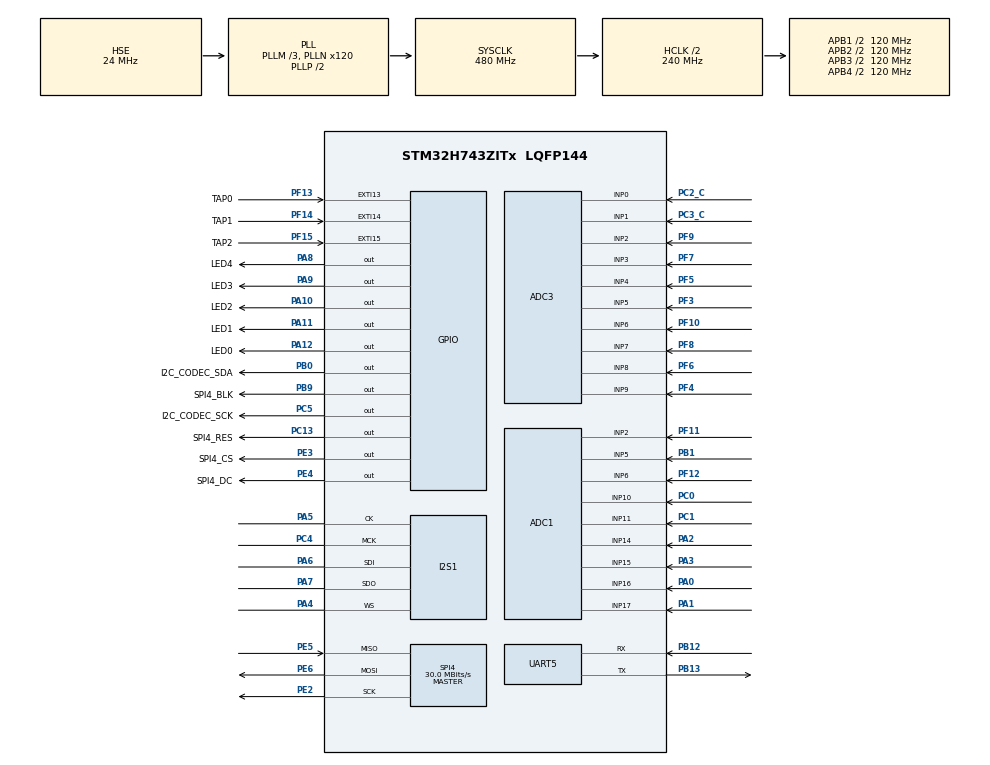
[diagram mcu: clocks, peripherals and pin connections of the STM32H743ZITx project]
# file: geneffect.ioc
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ADC1.Channel-10\#ChannelRegularConversion=ADC_CHANNEL_17
ADC1.Channel-2\#ChannelRegularConversion=ADC_CHANNEL_2
ADC1.Channel-3\#ChannelRegularConversion=ADC_CHANNEL_5
ADC1.Channel-4\#ChannelRegularConversion=ADC_CHANNEL_6
ADC1.Channel-5\#ChannelRegularConversion=ADC_CHANNEL_10
ADC1.Channel-6\#ChannelRegularConversion=ADC_CHANNEL_11
ADC1.Channel-7\#ChannelRegularConversion=ADC_CHANNEL_14
ADC1.Channel-8\#ChannelRegularConversion=ADC_CHANNEL_15
ADC1.Channel-9\#ChannelRegularConversion=ADC_CHANNEL_16
ADC1.ClockPrescaler=ADC_CLOCK_ASYNC_DIV6
ADC1.ClockPrescalerADC3=ADC_CLOCK_ASYNC_DIV6
ADC1.ContinuousConvMode=ENABLE
ADC1.ConversionDataManagement=ADC_CONVERSIONDATA_DMA_CIRCULAR
ADC1.NbrOfConversion=9
ADC1.NbrOfConversionFlag=1
ADC1.OffsetNumber-10\#ChannelRegularConversion=ADC_OFFSET_NONE
ADC1.OffsetNumber-2\#ChannelRegularConversion=ADC_OFFSET_NONE
ADC1.OffsetNumber-3\#ChannelRegularConversion=ADC_OFFSET_NONE
ADC1.OffsetNumber-4\#ChannelRegularConversion=ADC_OFFSET_NONE
ADC1.OffsetNumber-5\#ChannelRegularConversion=ADC_OFFSET_NONE
ADC1.OffsetNumber-6\#ChannelRegularConversion=ADC_OFFSET_NONE
ADC1.OffsetNumber-7\#ChannelRegularConversion=ADC_OFFSET_NONE
ADC1.OffsetNumber-8\#ChannelRegularConversion=ADC_OFFSET_NONE
ADC1.OffsetNumber-9\#ChannelRegularConversion=ADC_OFFSET_NONE
ADC1.OffsetSignedSaturation-10\#ChannelRegularConversion=DISABLE
ADC1.OffsetSignedSaturation-2\#ChannelRegularConversion=DISABLE
ADC1.OffsetSignedSaturation-3\#ChannelRegularConversion=DISABLE
ADC1.OffsetSignedSaturation-4\#ChannelRegularConversion=DISABLE
ADC1.OffsetSignedSaturation-5\#ChannelRegularConversion=DISABLE
ADC1.OffsetSignedSaturation-6\#ChannelRegularConversion=DISABLE
ADC1.OffsetSignedSaturation-7\#ChannelRegularConversion=DISABLE
ADC1.OffsetSignedSaturation-8\#ChannelRegularConversion=DISABLE
ADC1.OffsetSignedSaturation-9\#ChannelRegularConversion=DISABLE
ADC1.Rank-10\#ChannelRegularConversion=9
ADC1.Rank-2\#ChannelRegularConversion=1
ADC1.Rank-3\#ChannelRegularConversion=2
ADC1.Rank-4\#ChannelRegularConversion=3
ADC1.Rank-5\#ChannelRegularConversion=4
ADC1.Rank-6\#ChannelRegularConversion=5
ADC1.Rank-7\#ChannelRegularConversion=6
ADC1.Rank-8\#ChannelRegularConversion=7
ADC1.Rank-9\#ChannelRegularConversion=8
ADC1.SamplingTime-10\#ChannelRegularConversion=ADC_SAMPLETIME_810CYCLES_5
ADC1.SamplingTime-2\#ChannelRegularConversion=ADC_SAMPLETIME_810CYCLES_5
ADC1.SamplingTime-3\#ChannelRegularConversion=ADC_SAMPLETIME_810CYCLES_5
ADC1.SamplingTime-4\#ChannelRegularConversion=ADC_SAMPLETIME_810CYCLES_5
ADC1.SamplingTime-5\#ChannelRegularConversion=ADC_SAMPLETIME_810CYCLES_5
ADC1.SamplingTime-6\#ChannelRegularConversion=ADC_SAMPLETIME_810CYCLES_5
ADC1.SamplingTime-7\#ChannelRegularConversion=ADC_SAMPLETIME_810CYCLES_5
ADC1.SamplingTime-8\#ChannelRegularConversion=ADC_SAMPLETIME_810CYCLES_5
ADC1.SamplingTime-9\#ChannelRegularConversion=ADC_SAMPLETIME_810CYCLES_5
ADC1.master=1
ADC3.Channel-0\#ChannelRegularConversion=ADC_CHANNEL_0
ADC3.Channel-1\#ChannelRegularConversion=ADC_CHANNEL_1
ADC3.Channel-2\#ChannelRegularConversion=ADC_CHANNEL_2
ADC3.Channel-3\#ChannelRegularConversion=ADC_CHANNEL_3
ADC3.Channel-4\#ChannelRegularConversion=ADC_CHANNEL_4
ADC3.Channel-5\#ChannelRegularConversion=ADC_CHANNEL_5
ADC3.Channel-6\#ChannelRegularConversion=ADC_CHANNEL_6
ADC3.Channel-7\#ChannelRegularConversion=ADC_CHANNEL_7
ADC3.Channel-8\#ChannelRegularConversion=ADC_CHANNEL_8
ADC3.Channel-9\#ChannelRegularConversion=ADC_CHANNEL_9
ADC3.ClockPrescaler=ADC_CLOCK_ASYNC_DIV6
ADC3.ClockPrescalerADC3=ADC_CLOCK_ASYNC_DIV6
ADC3.ContinuousConvMode=ENABLE
ADC3.ConversionDataManagement=ADC_CONVERSIONDATA_DMA_CIRCULAR
ADC3.NbrOfConversion=10
ADC3.NbrOfConversionFlag=1
ADC3.OffsetNumber-0\#ChannelRegularConversion=ADC_OFFSET_NONE
ADC3.OffsetNumber-1\#ChannelRegularConversion=ADC_OFFSET_NONE
ADC3.OffsetNumber-2\#ChannelRegularConversion=ADC_OFFSET_NONE
ADC3.OffsetNumber-3\#ChannelRegularConversion=ADC_OFFSET_NONE
ADC3.OffsetNumber-4\#ChannelRegularConversion=ADC_OFFSET_NONE
ADC3.OffsetNumber-5\#ChannelRegularConversion=ADC_OFFSET_NONE
ADC3.OffsetNumber-6\#ChannelRegularConversion=ADC_OFFSET_NONE
ADC3.OffsetNumber-7\#ChannelRegularConversion=ADC_OFFSET_NONE
ADC3.OffsetNumber-8\#ChannelRegularConversion=ADC_OFFSET_NONE
ADC3.OffsetNumber-9\#ChannelRegularConversion=ADC_OFFSET_NONE
ADC3.OffsetSignedSaturation-0\#ChannelRegularConversion=DISABLE
ADC3.OffsetSignedSaturation-1\#ChannelRegularConversion=DISABLE
ADC3.OffsetSignedSaturation-2\#ChannelRegularConversion=DISABLE
ADC3.OffsetSignedSaturation-3\#ChannelRegularConversion=DISABLE
ADC3.OffsetSignedSaturation-4\#ChannelRegularConversion=DISABLE
ADC3.OffsetSignedSaturation-5\#ChannelRegularConversion=DISABLE
ADC3.OffsetSignedSaturation-6\#ChannelRegularConversion=DISABLE
ADC3.OffsetSignedSaturation-7\#ChannelRegularConversion=DISABLE
ADC3.OffsetSignedSaturation-8\#ChannelRegularConversion=DISABLE
ADC3.OffsetSignedSaturation-9\#ChannelRegularConversion=DISABLE
ADC3.Rank-0\#ChannelRegularConversion=1
ADC3.Rank-1\#ChannelRegularConversion=2
ADC3.Rank-2\#ChannelRegularConversion=3
ADC3.Rank-3\#ChannelRegularConversion=4
ADC3.Rank-4\#ChannelRegularConversion=5
ADC3.Rank-5\#ChannelRegularConversion=6
ADC3.Rank-6\#ChannelRegularConversion=7
ADC3.Rank-7\#ChannelRegularConversion=8
ADC3.Rank-8\#ChannelRegularConversion=9
ADC3.Rank-9\#ChannelRegularConversion=10
ADC3.SamplingTime-0\#ChannelRegularConversion=ADC_SAMPLETIME_810CYCLES_5
ADC3.SamplingTime-1\#ChannelRegularConversion=ADC_SAMPLETIME_810CYCLES_5
ADC3.SamplingTime-2\#ChannelRegularConversion=ADC_SAMPLETIME_810CYCLES_5
ADC3.SamplingTime-3\#ChannelRegularConversion=ADC_SAMPLETIME_810CYCLES_5
ADC3.SamplingTime-4\#ChannelRegularConversion=ADC_SAMPLETIME_810CYCLES_5
ADC3.SamplingTime-5\#ChannelRegularConversion=ADC_SAMPLETIME_810CYCLES_5
ADC3.SamplingTime-6\#ChannelRegularConversion=ADC_SAMPLETIME_810CYCLES_5
ADC3.SamplingTime-7\#ChannelRegularConversion=ADC_SAMPLETIME_810CYCLES_5
ADC3.SamplingTime-8\#ChannelRegularConversion=ADC_SAMPLETIME_810CYCLES_5
ADC3.SamplingTime-9\#ChannelRegularConversion=ADC_SAMPLETIME_810CYCLES_5
Bdma.ADC3.0.Direction=DMA_PERIPH_TO_MEMORY
Bdma.ADC3.0.EventEnable=DISABLE
Bdma.ADC3.0.Instance=BDMA_Channel0
Bdma.ADC3.0.MemDataAlignment=DMA_MDATAALIGN_HALFWORD
Bdma.ADC3.0.MemInc=DMA_MINC_ENABLE
Bdma.ADC3.0.Mode=DMA_CIRCULAR
Bdma.ADC3.0.PeriphDataAlignment=DMA_PDATAALIGN_HALFWORD
Bdma.ADC3.0.PeriphInc=DMA_PINC_DISABLE
Bdma.ADC3.0.Polarity=HAL_DMAMUX_REQ_GEN_RISING
Bdma.ADC3.0.Priority=DMA_PRIORITY_LOW
Bdma.ADC3.0.RequestNumber=1
Bdma.ADC3.0.SignalID=NONE
Bdma.ADC3.0.SyncEnable=DISABLE
Bdma.ADC3.0.SyncPolarity=HAL_DMAMUX_SYNC_NO_EVENT
Bdma.ADC3.0.SyncRequestNumber=1
Bdma.ADC3.0.SyncSignalID=NONE
Bdma.Request0=ADC3
Bdma.RequestsNb=1
CORTEX_M7.CPU_DCache=Disabled
CORTEX_M7.CPU_ICache=Enabled
Dma.ADC1.0.Direction=DMA_PERIPH_TO_MEMORY
Dma.ADC1.0.EventEnable=DISABLE
Dma.ADC1.0.FIFOMode=DMA_FIFOMODE_DISABLE
Dma.ADC1.0.Instance=DMA1_Stream0
Dma.ADC1.0.MemDataAlignment=DMA_MDATAALIGN_HALFWORD
Dma.ADC1.0.MemInc=DMA_MINC_ENABLE
Dma.ADC1.0.Mode=DMA_CIRCULAR
Dma.ADC1.0.PeriphDataAlignment=DMA_PDATAALIGN_HALFWORD
Dma.ADC1.0.PeriphInc=DMA_PINC_DISABLE
Dma.ADC1.0.Polarity=HAL_DMAMUX_REQ_GEN_RISING
Dma.ADC1.0.Priority=DMA_PRIORITY_LOW
Dma.ADC1.0.RequestNumber=1
Dma.ADC1.0.SignalID=NONE
Dma.ADC1.0.SyncEnable=DISABLE
Dma.ADC1.0.SyncPolarity=HAL_DMAMUX_SYNC_NO_EVENT
Dma.ADC1.0.SyncRequestNumber=1
Dma.ADC1.0.SyncSignalID=NONE
Dma.Request0=ADC1
Dma.Request1=SPI1_RX
Dma.Request2=SPI1_TX
Dma.SPI1_RX.1.Direction=DMA_PERIPH_TO_MEMORY
Dma.SPI1_RX.1.EventEnable=DISABLE
Dma.SPI1_RX.1.FIFOMode=DMA_FIFOMODE_DISABLE
Dma.SPI1_RX.1.Instance=DMA1_Stream1
Dma.SPI1_RX.1.MemDataAlignment=DMA_MDATAALIGN_HALFWORD
Dma.SPI1_RX.1.MemInc=DMA_MINC_ENABLE
Dma.SPI1_RX.1.Mode=DMA_CIRCULAR
Dma.SPI1_RX.1.PeriphDataAlignment=DMA_PDATAALIGN_HALFWORD
Dma.SPI1_RX.1.PeriphInc=DMA_PINC_DISABLE
Dma.SPI1_RX.1.Polarity=HAL_DMAMUX_REQ_GEN_RISING
Dma.SPI1_RX.1.Priority=DMA_PRIORITY_LOW
Dma.SPI1_RX.1.RequestNumber=1
Dma.SPI1_RX.1.SignalID=NONE
Dma.SPI1_RX.1.SyncEnable=DISABLE
Dma.SPI1_RX.1.SyncPolarity=HAL_DMAMUX_SYNC_NO_EVENT
Dma.SPI1_RX.1.SyncRequestNumber=1
Dma.SPI1_RX.1.SyncSignalID=NONE
Dma.SPI1_TX.2.Direction=DMA_MEMORY_TO_PERIPH
Dma.SPI1_TX.2.EventEnable=DISABLE
Dma.SPI1_TX.2.FIFOMode=DMA_FIFOMODE_DISABLE
Dma.SPI1_TX.2.Instance=DMA1_Stream2
Dma.SPI1_TX.2.MemDataAlignment=DMA_MDATAALIGN_HALFWORD
Dma.SPI1_TX.2.MemInc=DMA_MINC_ENABLE
Dma.SPI1_TX.2.Mode=DMA_CIRCULAR
Dma.SPI1_TX.2.PeriphDataAlignment=DMA_PDATAALIGN_HALFWORD
Dma.SPI1_TX.2.PeriphInc=DMA_PINC_DISABLE
Dma.SPI1_TX.2.Polarity=HAL_DMAMUX_REQ_GEN_RISING
Dma.SPI1_TX.2.Priority=DMA_PRIORITY_LOW
Dma.SPI1_TX.2.RequestNumber=1
Dma.SPI1_TX.2.SignalID=NONE
Dma.SPI1_TX.2.SyncEnable=DISABLE
Dma.SPI1_TX.2.SyncPolarity=HAL_DMAMUX_SYNC_NO_EVENT
Dma.SPI1_TX.2.SyncRequestNumber=1
Dma.SPI1_TX.2.SyncSignalID=NONE
I2S1.AudioFreq=I2S_AUDIOFREQ_48K
I2S1.ErrorAudioFreq=-0.01 %
I2S1.Instance=SPI$Index
I2S1.RealAudioFreq=47.991 KHz
Mcu.Family=STM32H7
Mcu.Name=STM32H743ZITx
Mcu.Package=LQFP144
NVIC.ADC3_IRQn=true\:0\:0\:false\:false\:true\:true\:true\:true
NVIC.ADC_IRQn=true\:0\:0\:false\:false\:true\:true\:true\:true
NVIC.BDMA_Channel0_IRQn=true\:0\:0\:false\:false\:true\:false\:true\:true
NVIC.DMA1_Stream0_IRQn=true\:0\:0\:false\:false\:true\:false\:true\:true
NVIC.DMA1_Stream1_IRQn=true\:0\:0\:false\:false\:true\:false\:true\:true
NVIC.DMA1_Stream2_IRQn=true\:0\:0\:false\:false\:true\:false\:true\:true
NVIC.EXTI15_10_IRQn=true\:0\:0\:false\:false\:true\:true\:true\:true
NVIC.PriorityGroup=NVIC_PRIORITYGROUP_4
NVIC.SPI1_IRQn=true\:0\:0\:false\:false\:true\:true\:true\:true
PA0.Mode=IN16-Single-Ended
PA0.Signal=ADC1_INP16
PA1.Mode=IN17-Single-Ended
PA1.Signal=ADC1_INP17
PA10.GPIO_Label=LED2
PA10.Signal=GPIO_Output
PA11.GPIO_Label=LED1
PA11.Signal=GPIO_Output
PA12.GPIO_Label=LED0
PA12.Signal=GPIO_Output
PA13\ (JTMS/SWDIO).Mode=JTAG_5_pins
PA13\ (JTMS/SWDIO).Signal=DEBUG_JTMS-SWDIO
PA14\ (JTCK/SWCLK).Mode=JTAG_5_pins
PA14\ (JTCK/SWCLK).Signal=DEBUG_JTCK-SWCLK
PA15\ (JTDI).Mode=JTAG_5_pins
PA15\ (JTDI).Signal=DEBUG_JTDI
PA2.Signal=ADCx_INP14
PA3.Signal=ADCx_INP15
PA4.Mode=Full_Duplex_Master
PA4.Signal=I2S1_WS
PA5.Mode=Full_Duplex_Master
PA5.Signal=I2S1_CK
PA6.Mode=Full_Duplex_Master
PA6.Signal=I2S1_SDI
PA7.Mode=Full_Duplex_Master
PA7.Signal=I2S1_SDO
PA8.GPIO_Label=LED4
PA8.Signal=GPIO_Output
PA9.GPIO_Label=LED3
PA9.Signal=GPIO_Output
PB0.GPIO_Label=I2C_CODEC_SDA
PB0.Signal=GPIO_Output
PB1.Signal=ADCx_INP5
PB12.Mode=Asynchronous
PB12.Signal=UART5_RX
PB13.Mode=Asynchronous
PB13.Signal=UART5_TX
PB3\ (JTDO/TRACESWO).Mode=JTAG_5_pins
PB3\ (JTDO/TRACESWO).Signal=DEBUG_JTDO-SWO
PB4\ (NJTRST).Mode=JTAG_5_pins
PB4\ (NJTRST).Signal=DEBUG_JTRST
PB9.GPIO_Label=SPI4_BLK
PB9.Signal=GPIO_Output
PC0.Signal=ADCx_INP10
PC1.Signal=ADCx_INP11
PC13.GPIO_Label=SPI4_RES
PC13.Signal=GPIO_Output
PC14-OSC32_IN\ (OSC32_IN).Mode=LSE-External-Oscillator
PC14-OSC32_IN\ (OSC32_IN).Signal=RCC_OSC32_IN
PC15-OSC32_OUT\ (OSC32_OUT).Mode=LSE-External-Oscillator
PC15-OSC32_OUT\ (OSC32_OUT).Signal=RCC_OSC32_OUT
PC2_C.Mode=IN0-Single-Ended
PC2_C.Signal=ADC3_INP0
PC3_C.Mode=IN1-Single-Ended
PC3_C.Signal=ADC3_INP1
PC4.Mode=Master_Clock_Activated
PC4.Signal=I2S1_MCK
PC5.GPIO_Label=I2C_CODEC_SCK
PC5.Signal=GPIO_Output
PE2.Mode=Full_Duplex_Master
PE2.Signal=SPI4_SCK
PE3.GPIO_Label=SPI4_CS
PE3.GPIO_Speed=GPIO_SPEED_FREQ_VERY_HIGH
PE3.Signal=GPIO_Output
PE4.GPIO_Label=SPI4_DC
PE4.GPIO_Speed=GPIO_SPEED_FREQ_VERY_HIGH
PE4.Signal=GPIO_Output
PE5.Mode=Full_Duplex_Master
PE5.Signal=SPI4_MISO
PE6.Mode=Full_Duplex_Master
PE6.Signal=SPI4_MOSI
PF10.Mode=IN6-Single-Ended
PF10.Signal=ADC3_INP6
PF11.Mode=IN2-Single-Ended
PF11.Signal=ADC1_INP2
PF12.Mode=IN6-Single-Ended
PF12.Signal=ADC1_INP6
PF13.GPIO_Label=TAP0
PF13.GPIO_ModeDefaultEXTI=GPIO_MODE_IT_RISING
PF13.GPIO_PuPd=GPIO_NOPULL
PF13.Signal=GPXTI13
PF14.GPIO_Label=TAP1
PF14.Signal=GPXTI14
PF15.GPIO_Label=TAP2
PF15.Signal=GPXTI15
PF3.Mode=IN5-Single-Ended
PF3.Signal=ADC3_INP5
PF4.Mode=IN9-Single-Ended
PF4.Signal=ADC3_INP9
PF5.Mode=IN4-Single-Ended
PF5.Signal=ADC3_INP4
PF6.Mode=IN8-Single-Ended
PF6.Signal=ADC3_INP8
PF7.Mode=IN3-Single-Ended
PF7.Signal=ADC3_INP3
PF8.Mode=IN7-Single-Ended
PF8.Signal=ADC3_INP7
PF9.Mode=IN2-Single-Ended
PF9.Signal=ADC3_INP2
PH0-OSC_IN\ (PH0).Mode=HSE-External-Oscillator
PH0-OSC_IN\ (PH0).Signal=RCC_OSC_IN
PH1-OSC_OUT\ (PH1).Mode=HSE-External-Oscillator
PH1-OSC_OUT\ (PH1).Signal=RCC_OSC_OUT
ProjectManager.HeapSize=0x2000
ProjectManager.StackSize=0x2000
ProjectManager.TargetToolchain=MDK-ARM V5.32
RCC.ADCCLockSelection=RCC_ADCCLKSOURCE_CLKP
RCC.ADCFreq_Value=64000000
RCC.APB1Freq_Value=120000000
RCC.APB2Freq_Value=120000000
RCC.APB3Freq_Value=120000000
RCC.APB4Freq_Value=120000000
RCC.CortexFreq_Value=480000000
RCC.D1PPRE=RCC_APB3_DIV2
RCC.D2PPRE1=RCC_APB1_DIV2
RCC.D2PPRE2=RCC_APB2_DIV2
RCC.D3PPRE=RCC_APB4_DIV2
RCC.DIVM1=3
RCC.DIVM2=4
RCC.DIVM3=24
RCC.DIVN1=120
RCC.DIVN3=258
RCC.DIVP3=3
RCC.DIVQ3=3
RCC.DIVR3=3
RCC.HCLKFreq_Value=240000000
RCC.HPRE=RCC_HCLK_DIV2
RCC.HSE_VALUE=24000000
RCC.PLL3FRACN=0
RCC.PLLSourceVirtual=RCC_PLLSOURCE_HSE
RCC.PWR_Regulator_Voltage_Scale=PWR_REGULATOR_VOLTAGE_SCALE0
RCC.ProductRev=revV
RCC.SPI123CLockSelection=RCC_SPI123CLKSOURCE_PLL3
RCC.SYSCLKFreq_VALUE=480000000
RCC.SYSCLKSource=RCC_SYSCLKSOURCE_PLLCLK
RCC.USBFreq_Value=480000000
SH.ADCx_INP10.0=ADC1_INP10,IN10-Single-Ended
SH.ADCx_INP11.0=ADC1_INP11,IN11-Single-Ended
SH.ADCx_INP14.0=ADC1_INP14,IN14-Single-Ended
SH.ADCx_INP15.0=ADC1_INP15,IN15-Single-Ended
SH.ADCx_INP5.0=ADC1_INP5,IN5-Single-Ended
SPI4.BaudRatePrescaler=SPI_BAUDRATEPRESCALER_4
SPI4.CalculateBaudRate=30.0 MBits/s
SPI4.DataSize=SPI_DATASIZE_8BIT
SPI4.Direction=SPI_DIRECTION_2LINES
SPI4.Mode=SPI_MODE_MASTER
SPI4.VirtualType=VM_MASTER
STMicroelectronics.X-CUBE-ALGOBUILD.1.3.0.LibraryCcDSPOoLibraryJjDSPOoLibrary=true
VP_STMicroelectronics.X-CUBE-ALGOBUILD_VS_DSPOoLibraryJjLibrary_1.3.0_1.3.0.Mode=DSPOoLibraryJjLibrary
board=custom

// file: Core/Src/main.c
/* USER CODE BEGIN Header */
/**
  ******************************************************************************
  * @file           : main.c
  * @brief          : Main program body
  ******************************************************************************
  * @attention
  *
  * Copyright (c) 2024 STMicroelectronics.
  * All rights reserved.
  *
  * This software is licensed under terms that can be found in the LICENSE file
  * in the root directory of this software component.
  * If no LICENSE file comes with this software, it is provided AS-IS.
  *
  ******************************************************************************
  */
/* USER CODE END Header */
#include "main.h"
#include "adc.h"
#include "bdma.h"
#include "dma.h"
#include "i2s.h"
#include "spi.h"
#include "usart.h"
#include "gpio.h"

/* USER CODE BEGIN Includes */
#include "lcd_init.h"
#include "lcd.h"
#include "malloc.h"
#include "wm8978.h"
#include "effect_chain.h"

/* USER CODE END Includes */

void SystemClock_Config(void);
void PeriphCommonClock_Config(void);

int main(void)
{

  /* Enable I-Cache---------------------------------------------------------*/
  SCB_EnableICache();

  /* MCU Configuration--------------------------------------------------------*/

  /* Reset of all peripherals, Initializes the Flash interface and the Systick. */
  HAL_Init();

  /* Configure the system clock */
  SystemClock_Config();

/* Configure the peripherals common clocks */
  PeriphCommonClock_Config();

  /* USER CODE BEGIN SysInit */
	HAL_Delay(1000);
  /* USER CODE END SysInit */

  /* Initialize all configured peripherals */
  MX_GPIO_Init();
  MX_DMA_Init();
  MX_BDMA_Init();
  MX_ADC3_Init();
  MX_I2S1_Init();
  MX_ADC1_Init();
  MX_UART5_Init();
  MX_SPI4_Init();

  /* Infinite loop */
  /* USER CODE BEGIN WHILE */

	//init screen
	HAL_Delay(1000);
	//HAL_I2S_MspDeInit(&hi2s3);
	uint8_t pin0_state = 0;
	SPI_LCD_Init();//LCD???
	SPI_LCD_Init();//LCD???
	SPI_LCD_Init();//LCD???
	LCD_Fill(0,0,LCD_W,LCD_H,WHITE);
	//HAL_Delay(1000);
	//MX_I2S3_Init();
	uint8_t frameid = 0;

	//init memory manager
	my_mem_init(0);
	//my_mem_init(1);

	//start adc dma capture
	init_adc_dma();
	//init 8978
	WM8978_Init();				//???WM8978
	WM8978_HPvol_Set(63,63);	//??????
	WM8978_SPKvol_Set(0);		//??????
	WM8978_ADDA_Cfg(1,1);		//??ADC
	WM8978_Input_Cfg(0,1,0);	//??????(MIC&LINE IN)
	WM8978_Output_Cfg(1,0);		//??BYPASS??
	WM8978_MIC_Gain(46);		//MIC????

	WM8978_I2S_Cfg(2,0);		//?????,16?????

	MX_I2S1_Init();

	init_input_output_confit();
	//HAL_Delay(500);
	//MX_I2S3_Init();
	//init_dragonfly_reverb_hall(48000);
  while (1)
  {
	  //LCD_ShowIntNum(0, 0, frameid,4,WHITE,BLACK, 16);
		//LCD_ShowPictureBinary(40,150,152,152,taikongren[frameid]);

		spi_lcd_handle();
		update_controller();
		//int reverb_type = (int)g_effect_controller.delay_mix;
		//int reverb_type_sub = (int)g_effect_controller.delay_time;
		//set_dragonfly_reverb_para(reverb_type, reverb_type_sub);
    /* USER CODE END WHILE */

  }
}

void SystemClock_Config(void)
{
  RCC_OscInitTypeDef RCC_OscInitStruct = {0};
  RCC_ClkInitTypeDef RCC_ClkInitStruct = {0};

  /** Supply configuration update enable
  */
  HAL_PWREx_ConfigSupply(PWR_LDO_SUPPLY);

  /** Configure the main internal regulator output voltage
  */
  __HAL_PWR_VOLTAGESCALING_CONFIG(PWR_REGULATOR_VOLTAGE_SCALE1);

  while(!__HAL_PWR_GET_FLAG(PWR_FLAG_VOSRDY)) {}

  __HAL_RCC_SYSCFG_CLK_ENABLE();
  __HAL_PWR_VOLTAGESCALING_CONFIG(PWR_REGULATOR_VOLTAGE_SCALE0);

  while(!__HAL_PWR_GET_FLAG(PWR_FLAG_VOSRDY)) {}

  /** Initializes the RCC Oscillators according to the specified parameters
  * in the RCC_OscInitTypeDef structure.
  */
  RCC_OscInitStruct.OscillatorType = RCC_OSCILLATORTYPE_HSI|RCC_OSCILLATORTYPE_HSE;
  RCC_OscInitStruct.HSEState = RCC_HSE_ON;
  RCC_OscInitStruct.HSIState = RCC_HSI_DIV1;
  RCC_OscInitStruct.HSICalibrationValue = RCC_HSICALIBRATION_DEFAULT;
  RCC_OscInitStruct.PLL.PLLState = RCC_PLL_ON;
  RCC_OscInitStruct.PLL.PLLSource = RCC_PLLSOURCE_HSE;
  RCC_OscInitStruct.PLL.PLLM = 3;
  RCC_OscInitStruct.PLL.PLLN = 120;
  RCC_OscInitStruct.PLL.PLLP = 2;
  RCC_OscInitStruct.PLL.PLLQ = 2;
  RCC_OscInitStruct.PLL.PLLR = 2;
  RCC_OscInitStruct.PLL.PLLRGE = RCC_PLL1VCIRANGE_3;
  RCC_OscInitStruct.PLL.PLLVCOSEL = RCC_PLL1VCOWIDE;
  RCC_OscInitStruct.PLL.PLLFRACN = 0;
  if (HAL_RCC_OscConfig(&RCC_OscInitStruct) != HAL_OK)
  {
    Error_Handler();
  }

  /** Initializes the CPU, AHB and APB buses clocks
  */
  RCC_ClkInitStruct.ClockType = RCC_CLOCKTYPE_HCLK|RCC_CLOCKTYPE_SYSCLK
                              |RCC_CLOCKTYPE_PCLK1|RCC_CLOCKTYPE_PCLK2
                              |RCC_CLOCKTYPE_D3PCLK1|RCC_CLOCKTYPE_D1PCLK1;
  RCC_ClkInitStruct.SYSCLKSource = RCC_SYSCLKSOURCE_PLLCLK;
  RCC_ClkInitStruct.SYSCLKDivider = RCC_SYSCLK_DIV1;
  RCC_ClkInitStruct.AHBCLKDivider = RCC_HCLK_DIV2;
  RCC_ClkInitStruct.APB3CLKDivider = RCC_APB3_DIV2;
  RCC_ClkInitStruct.APB1CLKDivider = RCC_APB1_DIV2;
  RCC_ClkInitStruct.APB2CLKDivider = RCC_APB2_DIV2;
  RCC_ClkInitStruct.APB4CLKDivider = RCC_APB4_DIV2;

  if (HAL_RCC_ClockConfig(&RCC_ClkInitStruct, FLASH_LATENCY_4) != HAL_OK)
  {
    Error_Handler();
  }
}

void PeriphCommonClock_Config(void)
{
  RCC_PeriphCLKInitTypeDef PeriphClkInitStruct = {0};

  /** Initializes the peripherals clock
  */
  PeriphClkInitStruct.PeriphClockSelection = RCC_PERIPHCLK_CKPER;
  PeriphClkInitStruct.CkperClockSelection = RCC_CLKPSOURCE_HSI;
  if (HAL_RCCEx_PeriphCLKConfig(&PeriphClkInitStruct) != HAL_OK)
  {
    Error_Handler();
  }
}

void Error_Handler(void)
{
  __disable_irq();
  while (1)
  {
  }
}
